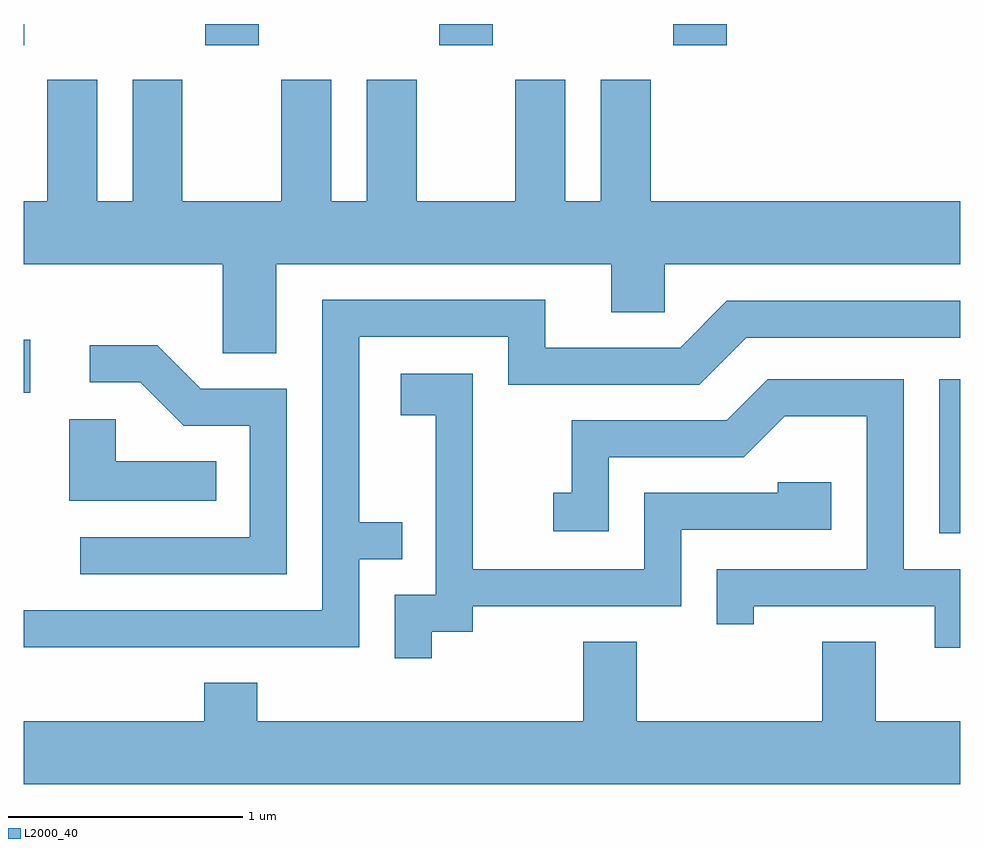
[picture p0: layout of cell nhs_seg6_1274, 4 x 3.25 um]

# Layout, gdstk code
import gdstk
lib = gdstk.Library(unit=1e-6, precision=1e-09)
def R(c, l, rs):  # rectangles x0, y0, x1, y1
    for r in rs: c.add(gdstk.rectangle(r[:2], r[2:], *l))
def A(c, l, x, y, w, h, nx, ny, dx, dy):  # array of equal rectangles
    R(c, l, [(x+i*dx, y+j*dy, x+i*dx+w, y+j*dy+h) for i in range(nx) for j in range(ny)])
def P(c, l, *ps):  # polygons
    for p in ps: c.add(gdstk.Polygon(p, *l))
L2000_40 = (2000, 40)

nhs_seg6_1274 = lib.new_cell('nhs_seg6_1274')
A(nhs_seg6_1274, L2000_40, 224.386, 1562.071, 0.228, 0.091, 3, 1, 1, 0)
R(nhs_seg6_1274, L2000_40, [(227.521,1559.986,227.611,1560.644), (223.611,1560.586,223.639,1560.814), (223.611,1562.071,223.614,1562.162)])
P(nhs_seg6_1274, L2000_40, [(226.076,1561.924),(226.076,1561.404),(225.924,1561.404),(225.924,1561.924),(225.711,1561.924),(225.711,1561.404),(225.289,1561.404),(225.289,1561.924),(225.076,1561.924),(225.076,1561.404),(224.924,1561.404),(224.924,1561.924),(224.711,1561.924),(224.711,1561.404),(224.289,1561.404),(224.289,1561.924),(224.076,1561.924),(224.076,1561.404),(223.924,1561.404),(223.924,1561.924),(223.711,1561.924),(223.711,1561.404),(223.611,1561.404),(223.611,1561.136),(224.461,1561.136),(224.461,1560.756),(224.689,1560.756),(224.689,1561.136),(226.121,1561.136),(226.121,1560.931),(226.349,1560.931),(226.349,1561.136),(227.611,1561.136),(227.611,1561.404),(226.289,1561.404),(226.289,1561.924)],
  [(225.044,1559.876),(225.228,1559.876),(225.228,1560.034),(225.044,1560.034),(225.044,1560.826),(225.681,1560.826),(225.681,1560.621),(226.497,1560.621),(226.697,1560.821),(227.611,1560.821),(227.611,1560.979),(226.614,1560.979),(226.414,1560.779),(225.839,1560.779),(225.839,1560.984),(224.886,1560.984),(224.886,1559.659),(223.611,1559.659),(223.611,1559.501),(225.044,1559.501)],
  [(224.734,1560.604),(224.367,1560.604),(224.182,1560.789),(223.893,1560.789),(223.893,1560.631),(224.109,1560.631),(224.294,1560.446),(224.576,1560.446),(224.576,1559.969),(223.853,1559.969),(223.853,1559.811),(224.734,1559.811)],
  [(225.354,1559.566),(225.529,1559.566),(225.529,1559.676),(226.419,1559.676),(226.419,1560.001),(227.059,1560.001),(227.059,1560.204),(226.831,1560.204),(226.831,1560.159),(226.261,1560.159),(226.261,1559.834),(225.529,1559.834),(225.529,1560.669),(225.221,1560.669),(225.221,1560.491),(225.371,1560.491),(225.371,1559.724),(225.196,1559.724),(225.196,1559.453),(225.354,1559.453)],
  [(227.611,1559.834),(227.369,1559.834),(227.369,1560.644),(226.789,1560.644),(226.614,1560.469),(225.951,1560.469),(225.951,1560.159),(225.873,1560.159),(225.873,1559.996),(226.109,1559.996),(226.109,1560.311),(226.687,1560.311),(226.862,1560.486),(227.211,1560.486),(227.211,1559.834),(226.571,1559.834),(226.571,1559.598),(226.729,1559.598),(226.729,1559.676),(227.501,1559.676),(227.501,1559.498),(227.611,1559.498)],
  [(224.433,1560.294),(224.004,1560.294),(224.004,1560.474),(223.806,1560.474),(223.806,1560.126),(224.433,1560.126)],
  [(227.611,1559.184),(227.249,1559.184),(227.249,1559.524),(227.021,1559.524),(227.021,1559.184),(226.229,1559.184),(226.229,1559.524),(226.001,1559.524),(226.001,1559.184),(224.609,1559.184),(224.609,1559.349),(224.381,1559.349),(224.381,1559.184),(223.611,1559.184),(223.611,1558.916),(227.611,1558.916)])

lib.write_gds('nhs_seg6_1274.gds')
